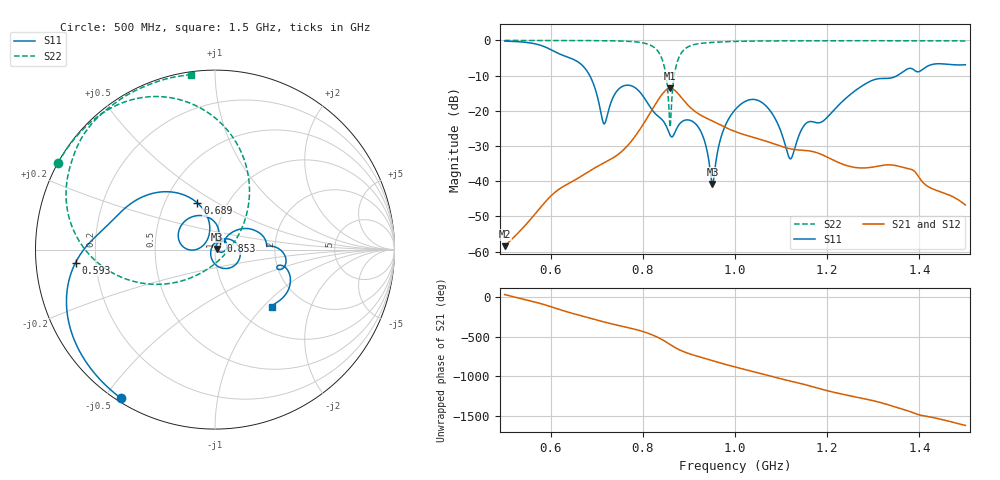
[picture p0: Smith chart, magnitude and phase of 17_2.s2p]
! TOUCHSTONE file generated by CST MICROWAVE STUDIO
! Date and time: Wed Oct 28 19:36:43 2020
! Project name: Scenario_1_Circular_Tissue_out_of_Line_v2.cst
! Parameters = {dy1=-69.2; L_HA=400; MT=2.54; Rad_Dielectric=30; Rad_Lower=7.3; Rad_Upper=30; a_HA=580; a_WG=246; b_HA=500; b_WG=121; c_HA=0; c_WG=187; d_feed=85; dx1=346; h_feed=15; h_lower=18; h_upper=40}
! Header version: 2018
! Port assignment regex: !\s*Touchstone port\s*([0-9]+)\s*=\s*(CST MWS port|CST DS port)\s*([0-9]+|Zmin|Zmax)\s*\(\"(.*)\"\)(\s*mode\s*([0-9]+))?.*
! Touchstone port assignment:
! Touchstone port 1 = CST MWS port 1 ("")
! Touchstone port 2 = CST MWS port 2 ("")
# GHz S DB R 50
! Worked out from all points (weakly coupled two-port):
!   1003 points, 500 MHz to 1.5 GHz, reference 50 ohm
!   highest |S21| = -13.61 dB at 859 MHz (marker M1); lowest = -58.4 dB at 500 MHz (marker M2)
!   lowest |S11| = -40.8 dB at 951 MHz (marker M3), VSWR 1.02, Z = 50.9 + j0.299 ohm
!   |S11| at or under -10 dB: 684.8 MHz to 1.352 GHz (667.1 MHz wide, 65.5 % of centre)
!   |S22| runs from -24.7 to 0.0 dB; largest |S21 - S12| = 3.9e-06
!   S11 on the Smith chart (normalised r, x): 500 MHz: 0.01, -0.55; 593 MHz: 0.12, -0.05; 689 MHz: 0.72, +0.41; 853 MHz: 1.06, +0.10; 1.5 GHz: 1.39, -1.13
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0.5  -0.17 -122.3  -58.44 31.6  -58.44 31.6  -0.01 151.1
0.593  -2.15 -174.6  -45.18 -108.3  -45.18 -108.3  -0.02 144.6
0.667  -6.89 135.2  -38.53 122.5  -38.53 122.5  -0.04 138.3
0.689  -11.13 110.7  -36.73 87.5  -36.73 87.5  -0.06 136.1
0.716  -23.71 143.3  -34.76 45.1  -34.76 45.1  -0.08 132.8
0.74  -15.07 175.3  -32.97 11.4  -32.97 11.4  -0.13 129.2
0.765  -12.71 144.1  -30.15 -21.1  -30.15 -21.1  -0.23 124.3
0.834  -21.62 72.2  -16.75 -153.0  -16.75 -153.0  -3.29 85.4
0.846  -23.22 62.5  -14.64 169.1  -14.64 169.1  -7.16 64.6
0.853  -24.98 57.5  -13.86 144.2  -13.86 144.2  -12.85 43.8
0.859  -26.87 61.2  -13.61 121.9  -13.61 121.9  -24.65 -38.0
0.87  -25.99 78.8  -14.26 82.6  -14.26 82.6  -8.59 -148.6
0.884  -23.16 63.6  -16.29 41.7  -16.29 41.7  -3.46 -174.9
0.924  -25.40 -8.6  -21.11 -36.9  -21.11 -36.9  -0.87 156.1
0.951  -40.80 18.8  -22.88 -83.3  -22.88 -83.3  -0.56 148.5
0.972  -26.52 66.4  -24.23 -118.5  -24.23 -118.5  -0.41 144.5
1  -19.72 32.6  -25.87 -162.2  -25.87 -162.2  -0.28 140.3
1.063  -18.08 -57.5  -28.44 102.3  -28.44 102.3  -0.15 133.1
1.12  -33.64 163.0  -30.79 20.3  -30.79 20.3  -0.12 128.0
1.167  -23.06 36.3  -31.52 -49.2  -31.52 -49.2  -0.10 124.2
1.334  -10.76 3.9  -35.34 77.6  -35.34 77.6  -0.09 111.5
1.5  -6.89 -45.5  -46.74 179.5  -46.74 179.5  -0.14 97.9
